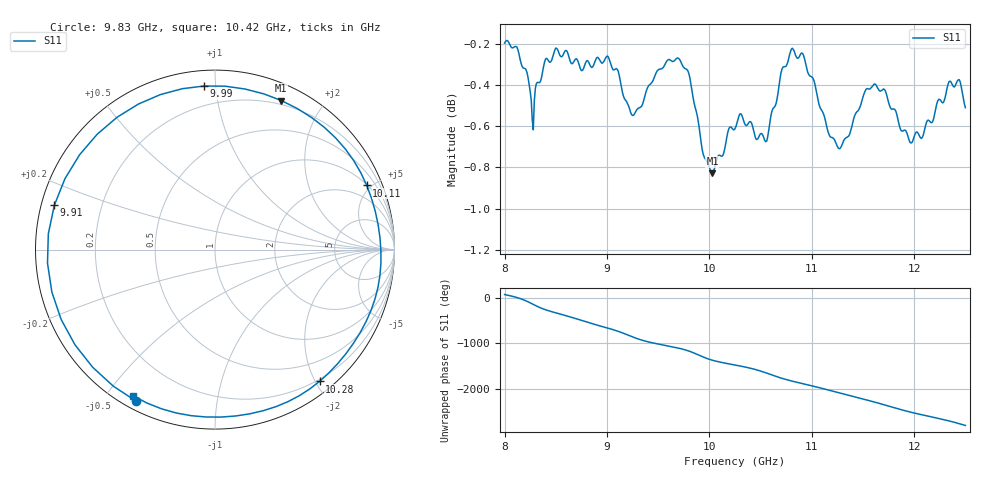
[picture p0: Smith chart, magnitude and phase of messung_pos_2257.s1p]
#  HZ  S  RI  R  50.00
! Rohde & Schwarz Vector Network Analyzer
! Rohde-Schwarz,ZNA43-4Port,1332450044101932,2.92
! Created: UTC 6/1/2026, 11:34:37 AM
! freq[Hz]  re:S11  im:S11
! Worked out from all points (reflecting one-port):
!   451 points, 8 GHz to 12.5 GHz, reference 50 ohm
!   lowest |S11| = -0.8 dB at 10.03 GHz (marker M1), VSWR 20.99, Z = 7.99 + j76.4 ohm
!   phase of S11 starts at 68 deg and turns -2872 deg over the sweep
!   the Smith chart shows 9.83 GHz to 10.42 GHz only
!   S11 on the Smith chart (normalised r, x): 9.83 GHz: 0.03, -0.61; 9.91 GHz: 0.04, +0.14; 9.99 GHz: 0.08, +0.93; 10.11 GHz: 1.04, +4.71; 10.28 GHz: 0.17, -2.06; 10.42 GHz: 0.05, -0.58
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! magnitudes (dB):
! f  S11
! 8 GHz  -0.2
! 8.13 GHz  -0.2
! 8.27 GHz  -0.6
! 8.4 GHz  -0.3
! 8.57 GHz  -0.3
! 9 GHz  -0.3
! 9.13 GHz  -0.4
! 9.26 GHz  -0.5
! 9.69 GHz  -0.3
! 9.83 GHz  -0.4
! 9.91 GHz  -0.6
! 9.99 GHz  -0.8
! 10.03 GHz  -0.8
! 10.11 GHz  -0.7
! 10.25 GHz  -0.6
! 10.28 GHz  -0.6
! 10.42 GHz  -0.6
! 10.56 GHz  -0.7
! 10.71 GHz  -0.3
! 10.82 GHz  -0.2
! 10.92 GHz  -0.3
! 11.25 GHz  -0.7
! 11.38 GHz  -0.6
! 11.61 GHz  -0.4
! 11.94 GHz  -0.7
! 12.08 GHz  -0.7
! 12.35 GHz  -0.4
! 12.5 GHz  -0.5
